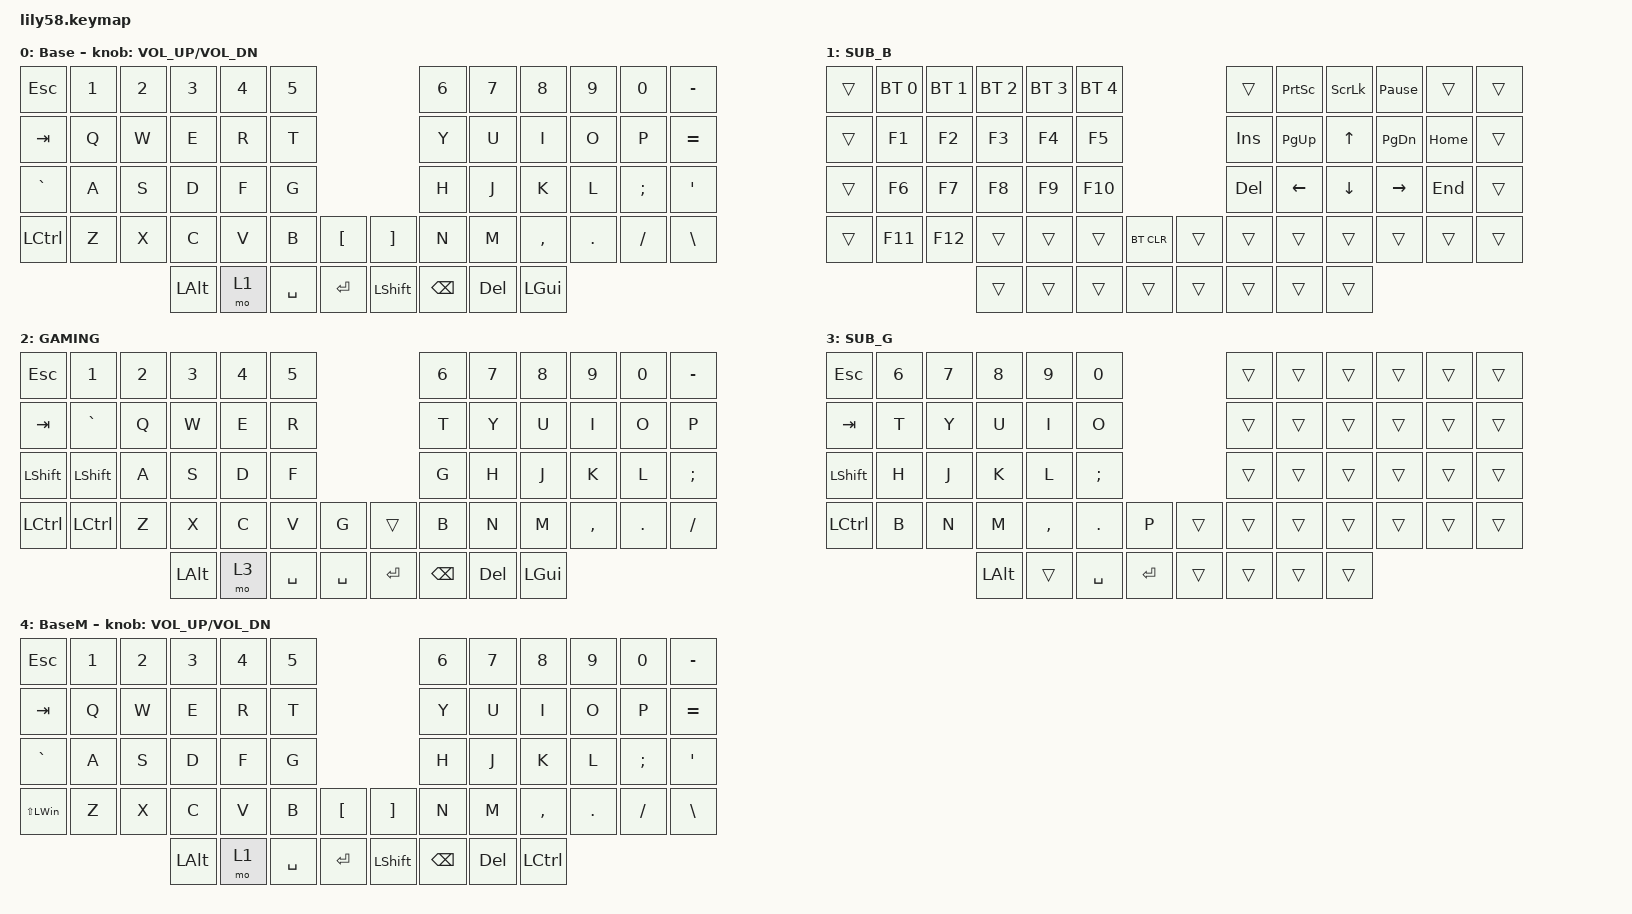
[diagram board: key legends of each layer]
/*
 * Copyright (c) 2020 The ZMK Contributors
 *
 * SPDX-License-Identifier: MIT
 */

#include <behaviors.dtsi>
#include <dt-bindings/zmk/bt.h>
#include <dt-bindings/zmk/keys.h>

/ {
    combos {
        compatible = "zmk,combos";

        Toggle_Gaming_Layer {
            bindings = <&tog 2>;
            key-positions = <42 43>;
            slow-release;
            layers = <0 2>;
        };

        MAC_BASE {
            bindings = <&tog 4>;
            key-positions = <11 23>;
        };
    };

    keymap {
        compatible = "zmk,keymap";

        Base {
            // ------------------------------------------------------------------------------------------------------------
            // |  ESC  |  1  |  2  |  3   |  4   |  5   |                   |  6   |  7    |  8    |  9   |   0   |   `   |
            // |  TAB  |  Q  |  W  |  E   |  R   |  T   |                   |  Y   |  U    |  I    |  O   |   P   |   -   |
            // |  CTRL |  A  |  S  |  D   |  F   |  G   |                   |  H   |  J    |  K    |  L   |   ;   |   '   |
            // | SHIFT |  Z  |  X  |  C   |  V   |  B   |   "["  |  |  "]"  |  N   |  M    |  ,    |  .   |   /   | SHIFT |
            //                     | ALT  | GUI  | LOWER|  SPACE |  | ENTER | RAISE| BSPC  | GUI   |

            display-name = "Base";
            bindings = <
&kp ESC    &kp N1  &kp N2  &kp N3    &kp N4  &kp N5                                  &kp N6         &kp N7      &kp N8        &kp N9   &kp N0    &kp MINUS
&kp TAB    &kp Q   &kp W   &kp E     &kp R   &kp T                                   &kp Y          &kp U       &kp I         &kp O    &kp P     &kp EQUAL
&kp GRAVE  &kp A   &kp S   &kp D     &kp F   &kp G                                   &kp H          &kp J       &kp K         &kp L    &kp SEMI  &kp SQT
&kp LCTRL  &kp Z   &kp X   &kp C     &kp V   &kp B      &kp LBKT     &kp RBKT        &kp N          &kp M       &kp COMMA     &kp DOT  &kp FSLH  &kp BACKSLASH
                           &kp LALT  &mo 1   &kp SPACE  &kp ENTER    &kp LEFT_SHIFT  &kp BACKSPACE  &kp DELETE  &kp LEFT_GUI
            >;

            sensor-bindings = <&inc_dec_kp C_VOL_UP C_VOL_DN>;
            label = "Base";
        };

        SUB_BASE {
            bindings = <
&trans  &bt BT_SEL 0  &bt BT_SEL 1  &bt BT_SEL 2  &bt BT_SEL 3  &bt BT_SEL 4                        &trans   &kp PRINTSCREEN  &kp SCROLLLOCK  &kp PAUSE_BREAK  &trans    &trans
&trans  &kp F1        &kp F2        &kp F3        &kp F4        &kp F5                              &kp INS  &kp PAGE_UP      &kp UP_ARROW    &kp PAGE_DOWN    &kp HOME  &trans
&trans  &kp F6        &kp F7        &kp F8        &kp F9        &kp F10                             &kp DEL  &kp LEFT_ARROW   &kp DOWN_ARROW  &kp RIGHT_ARROW  &kp END   &trans
&trans  &kp F11       &kp F12       &trans        &trans        &trans        &bt BT_CLR    &trans  &trans   &trans           &trans          &trans           &trans    &trans
                                    &trans        &trans        &trans        &trans        &trans  &trans   &trans           &trans
            >;

            label = "SUB_B";
        };

        GAMING {
            bindings = <
&kp ESC    &kp N1     &kp N2  &kp N3    &kp N4  &kp N5                             &kp N6    &kp N7   &kp N8    &kp N9     &kp N0   &kp MINUS
&kp TAB    &kp GRAVE  &kp Q   &kp W     &kp E   &kp R                              &kp T     &kp Y    &kp U     &kp I      &kp O    &kp P
&kp LSHFT  &kp LSHFT  &kp A   &kp S     &kp D   &kp F                              &kp G     &kp H    &kp J     &kp K      &kp L    &kp SEMI
&kp LCTRL  &kp LCTRL  &kp Z   &kp X     &kp C   &kp V      &kp G        &trans     &kp B     &kp N    &kp M     &kp COMMA  &kp DOT  &kp FSLH
                              &kp LALT  &mo 3   &kp SPACE  &kp SPACE    &kp ENTER  &kp BSPC  &kp DEL  &kp LGUI
            >;

            label = "GAMING";
        };

        SUB_GAMING {
            bindings = <
&kp ESC    &kp N6  &kp N7  &kp N8    &kp N9     &kp N0                          &trans  &trans  &trans  &trans  &trans  &trans
&kp TAB    &kp T   &kp Y   &kp U     &kp I      &kp O                           &trans  &trans  &trans  &trans  &trans  &trans
&kp LSHFT  &kp H   &kp J   &kp K     &kp L      &kp SEMI                        &trans  &trans  &trans  &trans  &trans  &trans
&kp LCTRL  &kp B   &kp N   &kp M     &kp COMMA  &kp DOT    &kp P        &trans  &trans  &trans  &trans  &trans  &trans  &trans
                           &kp LALT  &trans     &kp SPACE  &kp ENTER    &trans  &trans  &trans  &trans
            >;

            label = "SUB_G";
        };

        Mac_Base {
            label = "MAC_BASE";
            display-name = "BaseM";
            bindings = <
&kp ESC           &kp N1  &kp N2  &kp N3    &kp N4  &kp N5                                  &kp N6         &kp N7      &kp N8            &kp N9   &kp N0    &kp MINUS
&kp TAB           &kp Q   &kp W   &kp E     &kp R   &kp T                                   &kp Y          &kp U       &kp I             &kp O    &kp P     &kp EQUAL
&kp GRAVE         &kp A   &kp S   &kp D     &kp F   &kp G                                   &kp H          &kp J       &kp K             &kp L    &kp SEMI  &kp SQT
&kp LS(LEFT_WIN)  &kp Z   &kp X   &kp C     &kp V   &kp B      &kp LBKT     &kp RBKT        &kp N          &kp M       &kp COMMA         &kp DOT  &kp FSLH  &kp BACKSLASH
                                  &kp LALT  &mo 1   &kp SPACE  &kp ENTER    &kp LEFT_SHIFT  &kp BACKSPACE  &kp DELETE  &kp LEFT_CONTROL
            >;

            sensor-bindings = <&inc_dec_kp C_VOL_UP C_VOL_DN>;
        };
    };
};
